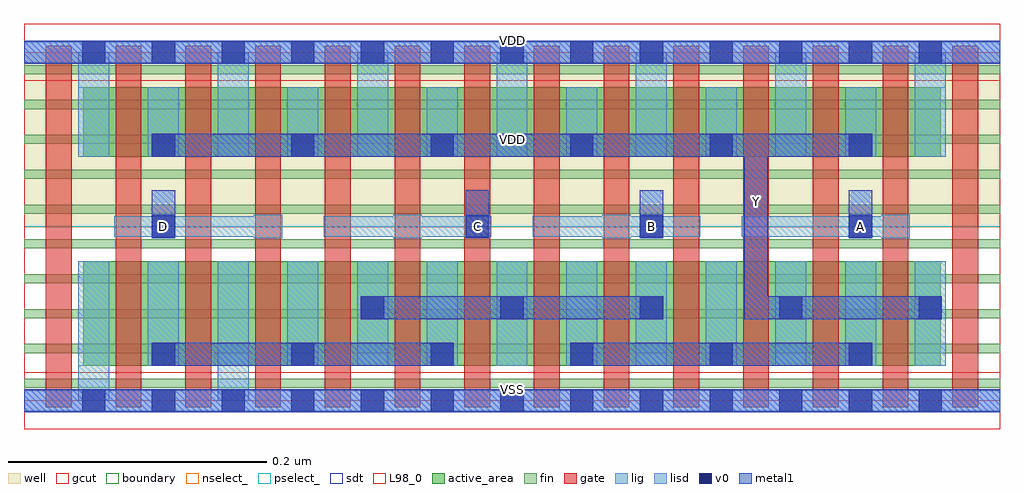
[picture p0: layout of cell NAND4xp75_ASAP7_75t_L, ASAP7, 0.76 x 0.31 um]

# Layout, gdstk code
import gdstk
lib = gdstk.Library(unit=1e-6, precision=2.5e-10)
def R(c, l, rs):  # rectangles x0, y0, x1, y1
    for r in rs: c.add(gdstk.rectangle(r[:2], r[2:], *l))
def A(c, l, x, y, w, h, nx, ny, dx, dy):  # array of equal rectangles
    R(c, l, [(x+i*dx, y+j*dy, x+i*dx+w, y+j*dy+h) for i in range(nx) for j in range(ny)])
def P(c, l, *ps):  # polygons
    for p in ps: c.add(gdstk.Polygon(p, *l))
well = (1, 0)
fin = (2, 0)
gate = (7, 0)
gcut = (10, 0)
active_area = (11, 0)
nselect_ = (12, 0)
pselect_ = (13, 0)
lig = (16, 0)
lisd = (17, 0)
v0 = (18, 0)
metal1 = (19, 0)
sdt = (88, 0)
L98_0 = (98, 0)
boundary = (100, 0)

nand4xp75_asap7_75t_l = lib.new_cell('NAND4xp75_ASAP7_75t_L')
R(nand4xp75_asap7_75t_l, well, [(0,0.135,0.756,0.27)])
A(nand4xp75_asap7_75t_l, fin, 0, 0.01, 0.756, 0.007, 1, 10, 0, 0.027)
A(nand4xp75_asap7_75t_l, gate, 0.017, -0.005, 0.02, 0.28, 14, 1, 0.054, 0)
R(nand4xp75_asap7_75t_l, gcut, [(0,-0.022,0.756,0.022), (0,0.248,0.756,0.292)])
R(nand4xp75_asap7_75t_l, active_area, [(0.046,0.027,0.71,0.108), (0.046,0.189,0.71,0.243)])
R(nand4xp75_asap7_75t_l, nselect_, [(0,0,0.756,0.135)])
R(nand4xp75_asap7_75t_l, pselect_, [(0,0.135,0.756,0.27)])
A(nand4xp75_asap7_75t_l, lig, 0.07, 0.127, 0.13, 0.016, 4, 1, 0.162, 0)
R(nand4xp75_asap7_75t_l, lig, [(0,-0.008,0.756,0.008), (0.178,0.126,0.2,0.144), (0.286,0.126,0.308,0.144), (0.448,0.126,0.47,0.144), (0.664,0.126,0.686,0.144), (0,0.262,0.756,0.278)])
A(nand4xp75_asap7_75t_l, lisd, 0.204, 0.027, 0.024, 0.081, 10, 1, 0.054, 0)
A(nand4xp75_asap7_75t_l, lisd, 0.096, 0.189, 0.024, 0.054, 6, 1, 0.108, 0)
R(nand4xp75_asap7_75t_l, lisd, [(0.042,0,0.066,0.108), (0.042,0,0.066,0.108), (0.15,0,0.174,0.108), (0.15,0,0.174,0.108), (0.096,0.027,0.12,0.108), (0.042,0.189,0.066,0.27), (0.042,0.189,0.066,0.27), (0.15,0.189,0.174,0.27), (0.15,0.189,0.174,0.27), (0.258,0.189,0.282,0.27), (0.258,0.189,0.282,0.27), (0.366,0.189,0.39,0.27), (0.366,0.189,0.39,0.27), (0.474,0.189,0.498,0.27), (0.474,0.189,0.498,0.27), (0.582,0.189,0.606,0.27), (0.582,0.189,0.606,0.27), (0.69,0.189,0.714,0.27), (0.69,0.189,0.714,0.27)])
A(nand4xp75_asap7_75t_l, v0, 0.045, -0.009, 0.018, 0.018, 13, 2, 0.054, 0.27)
A(nand4xp75_asap7_75t_l, v0, 0.099, 0.027, 0.018, 0.018, 6, 2, 0.108, 0.162)
A(nand4xp75_asap7_75t_l, v0, 0.261, 0.063, 0.018, 0.018, 5, 1, 0.108, 0)
R(nand4xp75_asap7_75t_l, v0, [(0.099,0.126,0.117,0.144), (0.342,0.126,0.36,0.144), (0.477,0.126,0.495,0.144), (0.639,0.126,0.657,0.144)])
A(nand4xp75_asap7_75t_l, metal1, 0.099, 0.027, 0.018, 0.018, 6, 2, 0.108, 0.162)
A(nand4xp75_asap7_75t_l, metal1, 0.261, 0.063, 0.018, 0.018, 5, 1, 0.108, 0)
R(nand4xp75_asap7_75t_l, metal1, [(0,-0.009,0.756,0.009), (0.099,0.027,0.333,0.045), (0.423,0.027,0.657,0.045), (0.261,0.063,0.495,0.081), (0.099,0.126,0.117,0.144), (0.099,0.126,0.117,0.163), (0.342,0.126,0.36,0.144), (0.342,0.126,0.36,0.163), (0.477,0.126,0.495,0.144), (0.477,0.126,0.495,0.163), (0.639,0.126,0.657,0.144), (0.639,0.126,0.657,0.163), (0,0.261,0.756,0.279)])
P(nand4xp75_asap7_75t_l, metal1, [(0.576,0.189),(0.657,0.189),(0.657,0.207),(0.099,0.207),(0.099,0.189),(0.558,0.189),(0.558,0.063),(0.711,0.063),(0.711,0.081),(0.576,0.081)])
A(nand4xp75_asap7_75t_l, sdt, 0.042, 0.027, 0.024, 0.081, 3, 1, 0.054, 0)
A(nand4xp75_asap7_75t_l, sdt, 0.15, 0.027, 0.024, 0.081, 11, 1, 0.054, 0)
A(nand4xp75_asap7_75t_l, sdt, 0.042, 0.189, 0.024, 0.054, 3, 1, 0.054, 0)
A(nand4xp75_asap7_75t_l, sdt, 0.15, 0.189, 0.024, 0.054, 3, 1, 0.054, 0)
A(nand4xp75_asap7_75t_l, sdt, 0.258, 0.189, 0.024, 0.054, 3, 1, 0.054, 0)
A(nand4xp75_asap7_75t_l, sdt, 0.366, 0.189, 0.024, 0.054, 3, 1, 0.054, 0)
A(nand4xp75_asap7_75t_l, sdt, 0.474, 0.189, 0.024, 0.054, 3, 1, 0.054, 0)
A(nand4xp75_asap7_75t_l, sdt, 0.582, 0.189, 0.024, 0.054, 3, 1, 0.054, 0)
R(nand4xp75_asap7_75t_l, sdt, [(0.042,0.027,0.066,0.108), (0.042,0.189,0.066,0.243), (0.69,0.189,0.714,0.243)])
R(nand4xp75_asap7_75t_l, L98_0, [(0,0,0.756,0.27)])
R(nand4xp75_asap7_75t_l, boundary, [(0,0,0.756,0.27)])
nand4xp75_asap7_75t_l.add(gdstk.Label('VDD', (0.378,0.2025), layer=1, texttype=251))
nand4xp75_asap7_75t_l.add(gdstk.Label('VSS', (0.378,-0.0675), layer=3, texttype=251))
nand4xp75_asap7_75t_l.add(gdstk.Label('VSS', (0.378,0.009), layer=19, texttype=251))
nand4xp75_asap7_75t_l.add(gdstk.Label('VDD', (0.378,0.279), layer=19, texttype=251))
nand4xp75_asap7_75t_l.add(gdstk.Label('D', (0.108,0.135), layer=19, texttype=251))
nand4xp75_asap7_75t_l.add(gdstk.Label('Y', (0.567,0.154), layer=19, texttype=251))
nand4xp75_asap7_75t_l.add(gdstk.Label('C', (0.351,0.135), layer=19, texttype=251))
nand4xp75_asap7_75t_l.add(gdstk.Label('B', (0.486,0.135), layer=19, texttype=251))
nand4xp75_asap7_75t_l.add(gdstk.Label('A', (0.648,0.135), layer=19, texttype=251))

lib.write_gds('NAND4xp75_ASAP7_75t_L.gds')
